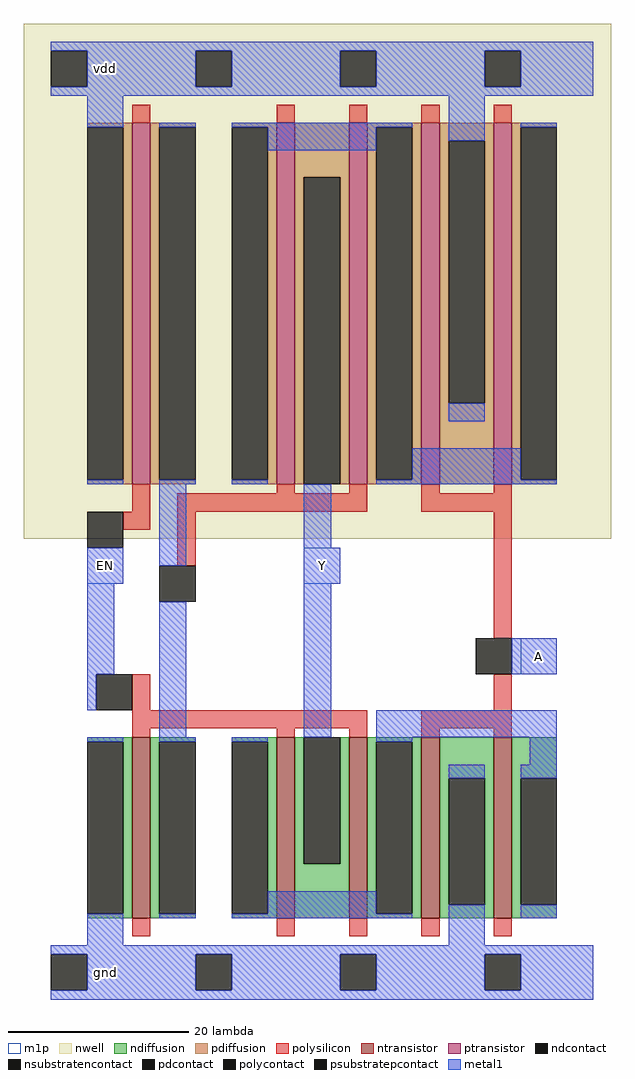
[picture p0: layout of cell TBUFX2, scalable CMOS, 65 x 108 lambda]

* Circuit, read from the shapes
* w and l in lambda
.subckt TBUFX2 A EN Y vdd gnd
M1 n1 EN gnd gnd nfet w=20 l=2
M2 Y EN n2 gnd nfet w=20 l=2 m=2
M3 gnd A n2 gnd nfet w=20 l=2 m=2
M4 n1 EN vdd vdd pfet w=40 l=2
M5 Y n1 n3 vdd pfet w=40 l=2 m=2
M6 vdd A n3 vdd pfet w=40 l=2 m=2
.ends

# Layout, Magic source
magic
tech scmos
magscale 1 2
<< nwell >>
rect -10 96 120 210
<< ntransistor >>
rect 14 12 18 52
rect 46 12 50 52
rect 62 12 66 52
rect 78 12 82 52
rect 94 12 98 52
<< ptransistor >>
rect 14 108 18 188
rect 46 108 50 188
rect 62 108 66 188
rect 78 108 82 188
rect 94 108 98 188
<< ndiffusion >>
rect 4 51 14 52
rect 12 13 14 51
rect 4 12 14 13
rect 18 51 28 52
rect 18 13 20 51
rect 18 12 28 13
rect 36 51 46 52
rect 44 13 46 51
rect 36 12 46 13
rect 50 24 52 52
rect 60 24 62 52
rect 50 12 62 24
rect 66 51 78 52
rect 66 13 68 51
rect 76 13 78 51
rect 66 12 78 13
rect 82 43 94 52
rect 82 15 84 43
rect 92 15 94 43
rect 82 12 94 15
rect 98 43 108 52
rect 98 15 100 43
rect 98 12 108 15
<< pdiffusion >>
rect 4 187 14 188
rect 12 109 14 187
rect 4 108 14 109
rect 18 187 28 188
rect 18 109 20 187
rect 18 108 28 109
rect 36 187 46 188
rect 44 109 46 187
rect 36 108 46 109
rect 50 176 62 188
rect 50 108 52 176
rect 60 108 62 176
rect 66 187 78 188
rect 66 109 68 187
rect 76 109 78 187
rect 66 108 78 109
rect 82 184 94 188
rect 82 126 84 184
rect 92 126 94 184
rect 82 108 94 126
rect 98 187 108 188
rect 98 109 100 187
rect 98 108 108 109
<< ndcontact >>
rect 4 13 12 51
rect 20 13 28 51
rect 36 13 44 51
rect 52 24 60 52
rect 68 13 76 51
rect 84 15 92 43
rect 100 15 108 43
<< pdcontact >>
rect 4 109 12 187
rect 20 109 28 187
rect 36 109 44 187
rect 52 108 60 176
rect 68 109 76 187
rect 84 126 92 184
rect 100 109 108 187
<< psubstratepcontact >>
rect -4 -4 4 4
rect 28 -4 36 4
rect 60 -4 68 4
rect 92 -4 100 4
<< nsubstratencontact >>
rect -4 196 4 204
rect 28 196 36 204
rect 60 196 68 204
rect 92 196 100 204
<< polysilicon >>
rect 14 188 18 192
rect 46 188 50 192
rect 62 188 66 192
rect 78 188 82 192
rect 94 188 98 192
rect 14 102 18 108
rect 46 106 50 108
rect 62 106 66 108
rect 12 98 18 102
rect 24 102 66 106
rect 78 106 82 108
rect 94 106 98 108
rect 78 102 98 106
rect 24 90 28 102
rect 94 74 98 102
rect 14 58 18 66
rect 94 58 98 66
rect 14 54 66 58
rect 14 52 18 54
rect 46 52 50 54
rect 62 52 66 54
rect 78 54 98 58
rect 78 52 82 54
rect 94 52 98 54
rect 14 8 18 12
rect 46 8 50 12
rect 62 8 66 12
rect 78 8 82 12
rect 94 8 98 12
<< polycontact >>
rect 4 94 12 102
rect 20 82 28 90
rect 90 66 98 74
rect 6 58 14 66
<< metal1 >>
rect -4 204 116 206
rect 4 196 28 204
rect 36 196 60 204
rect 68 196 92 204
rect 100 196 116 204
rect -4 194 116 196
rect 4 187 12 194
rect 4 108 12 109
rect 20 187 28 188
rect 20 108 28 109
rect 36 187 76 188
rect 44 182 68 187
rect 36 108 44 109
rect 84 184 92 194
rect 84 122 92 126
rect 100 187 108 188
rect 76 109 100 116
rect 68 108 108 109
rect 4 86 12 94
rect 20 90 26 108
rect 52 94 58 108
rect 4 66 10 86
rect 52 86 60 94
rect 4 58 6 66
rect 20 52 26 82
rect 52 52 58 86
rect 98 66 108 74
rect 68 52 108 58
rect 4 51 12 52
rect 4 6 12 13
rect 20 51 28 52
rect 20 12 28 13
rect 36 51 44 52
rect 68 51 76 52
rect 44 13 68 18
rect 102 46 108 52
rect 36 12 76 13
rect 84 43 92 46
rect 84 6 92 15
rect 100 43 108 46
rect 100 12 108 15
rect -4 4 116 6
rect 4 -4 28 4
rect 36 -4 60 4
rect 68 -4 92 4
rect 100 -4 116 4
rect -4 -6 116 -4
<< m1p >>
rect 4 86 12 94
rect 52 86 60 94
rect 100 66 108 74
<< labels >>
rlabel metal1 8 200 8 200 4 vdd
port 4 se
rlabel metal1 8 0 8 0 4 gnd
port 5 se
rlabel metal1 104 70 104 70 4 A
port 1 se
rlabel metal1 8 90 8 90 4 EN
port 2 se
rlabel metal1 56 90 56 90 4 Y
port 3 se
<< end >>
